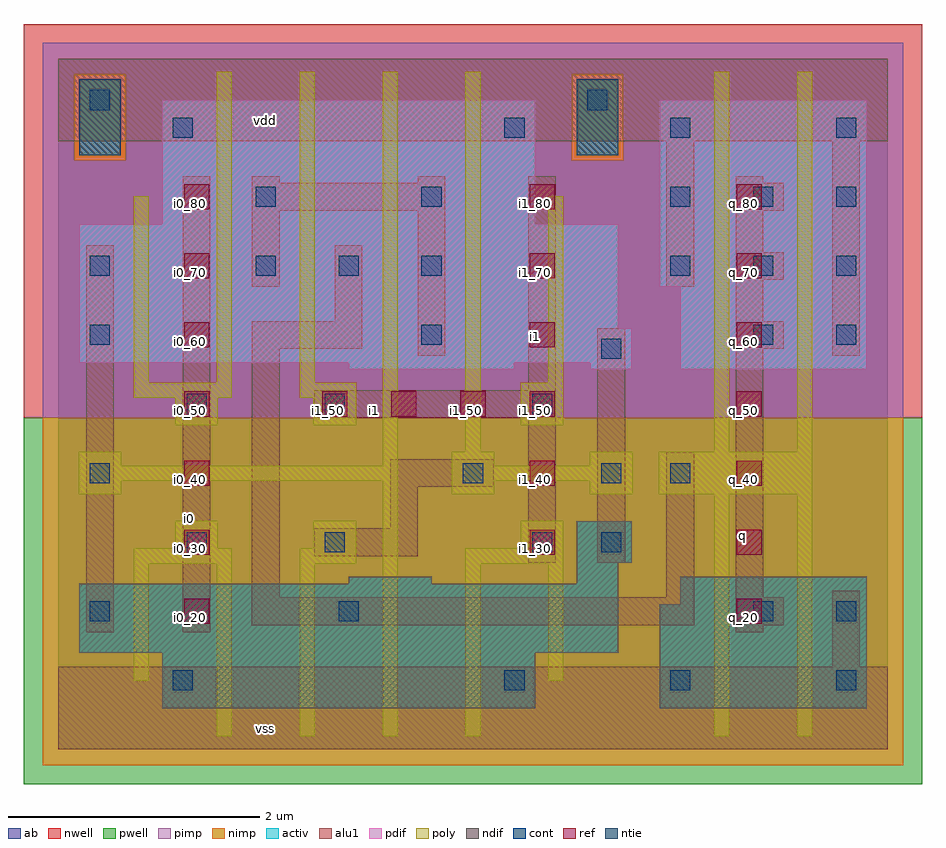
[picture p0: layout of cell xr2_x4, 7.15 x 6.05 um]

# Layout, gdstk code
import gdstk
lib = gdstk.Library(unit=1e-6, precision=2.5e-09)
def R(c, l, rs):  # rectangles x0, y0, x1, y1
    for r in rs: c.add(gdstk.rectangle(r[:2], r[2:], *l))
def A(c, l, x, y, w, h, nx, ny, dx, dy):  # array of equal rectangles
    R(c, l, [(x+i*dx, y+j*dy, x+i*dx+w, y+j*dy+h) for i in range(nx) for j in range(ny)])
ndif = (3, 0)
pdif = (4, 0)
ntie = (5, 0)
ref = (24, 0)
cont = (25, 0)
pwell = (41, 0)
nwell = (42, 0)
activ = (43, 0)
pimp = (44, 0)
nimp = (45, 0)
poly = (46, 0)
alu1 = (49, 0)
ab = (63, 0)

xr2_x4 = lib.new_cell('xr2_x4')
R(xr2_x4, ndif, [(0.825,0.33,3.795,0.77), (4.785,0.33,6.435,1.155), (0.165,0.77,4.455,1.32), (4.95,1.155,6.435,1.375), (2.31,1.32,2.97,1.375), (4.125,1.32,4.455,1.485), (4.125,1.485,4.565,1.815)])
R(xr2_x4, pdif, [(2.31,3.025,3.63,3.08), (4.235,3.025,4.565,3.08), (4.95,3.025,6.435,3.685), (0.165,3.08,4.565,3.355), (0.165,3.355,4.455,4.18), (4.785,3.685,6.435,5.17), (0.825,4.18,3.795,5.17)])
R(xr2_x4, ntie, [(0.165,4.73,0.495,5.335), (4.125,4.73,4.455,5.335)])
A(xr2_x4, ref, 1, 1, 0.2, 0.2, 1, 7, 0, 0.55)
A(xr2_x4, ref, 5.4, 1, 0.2, 0.2, 1, 7, 0, 0.55)
A(xr2_x4, ref, 2.1, 2.65, 0.2, 0.2, 4, 1, 0.55, 0)
A(xr2_x4, ref, 3.75, 3.2, 0.2, 0.2, 1, 3, 0, 0.55)
R(xr2_x4, ref, [(3.75,1.55,3.95,1.75), (3.75,2.1,3.95,2.3)])
A(xr2_x4, cont, 3.55, 0.47, 0.16, 0.16, 3, 2, 1.32, 4.4)
A(xr2_x4, cont, 0.25, 3.22, 0.16, 0.16, 3, 1, 2.64, 0)
A(xr2_x4, cont, 1.57, 3.77, 0.16, 0.16, 3, 1, 0.66, 0)
A(xr2_x4, cont, 4.87, 3.77, 0.16, 0.16, 3, 2, 0.66, 0.55)
R(xr2_x4, cont, [(0.91,0.47,1.07,0.63), (0.25,1.02,0.41,1.18), (2.23,1.02,2.39,1.18), (5.53,1.02,5.69,1.18), (6.19,1.02,6.35,1.18), (1.02,1.57,1.18,1.73), (2.12,1.57,2.28,1.73), (3.77,1.57,3.93,1.73), (4.32,1.57,4.48,1.73), (0.25,2.12,0.41,2.28), (3.22,2.12,3.38,2.28), (4.32,2.12,4.48,2.28), (4.87,2.12,5.03,2.28), (1.02,2.67,1.18,2.83), (2.12,2.67,2.28,2.83), (3.77,2.67,3.93,2.83), (4.32,3.11,4.48,3.27), (6.19,3.22,6.35,3.38), (0.25,3.77,0.41,3.93), (1.57,4.32,1.73,4.48), (2.89,4.32,3.05,4.48), (0.91,4.87,1.07,5.03), (0.25,5.09,0.41,5.25), (4.21,5.09,4.37,5.25)])
R(xr2_x4, pwell, [(-0.275,-0.275,6.875,2.64)])
R(xr2_x4, nwell, [(-0.275,2.64,6.875,5.775)])
R(xr2_x4, activ, [(0.825,0.33,3.795,0.77), (4.785,0.33,6.435,1.155), (0.165,0.77,4.455,1.32), (4.95,1.155,6.435,1.375), (2.31,1.32,2.97,1.375), (4.125,1.32,4.455,1.485), (4.125,1.485,4.565,1.815), (2.31,3.025,3.63,3.08), (4.235,3.025,4.565,3.08), (4.95,3.025,6.435,3.685), (0.165,3.08,4.565,3.355), (0.165,3.355,4.455,4.18), (4.785,3.685,6.435,5.17), (0.825,4.18,3.795,5.17), (0.165,4.73,0.495,5.335), (4.125,4.73,4.455,5.335)])
R(xr2_x4, pimp, [(-0.125,2.64,6.725,4.69), (-0.125,4.69,0.125,5.375), (0.535,4.69,4.085,5.375), (4.495,4.69,6.725,5.375), (-0.125,5.375,6.725,5.625)])
R(xr2_x4, nimp, [(-0.125,-0.125,6.725,2.64), (0.125,4.69,0.535,5.375), (4.085,4.69,4.495,5.375)])
R(xr2_x4, poly, [(1.26,0.105,1.38,1.48), (1.92,0.105,2.04,1.48), (2.58,0.105,2.7,2.14), (3.24,0.105,3.36,1.48), (5.22,0.105,5.34,2.03), (5.88,0.105,6,2.03), (0.6,0.545,0.72,1.48), (3.9,0.545,4.02,1.48), (0.6,1.48,1.38,1.6), (1.92,1.48,2.37,1.6), (3.24,1.48,4.02,1.6), (0.93,1.6,1.27,1.82), (2.03,1.6,2.37,1.82), (3.68,1.6,4.02,1.82), (0.16,2.03,0.5,2.14), (3.13,2.03,3.47,2.14), (4.23,2.03,4.57,2.14), (4.78,2.03,6,2.37), (0.16,2.14,2.7,2.26), (3.13,2.14,4.57,2.26), (0.16,2.26,0.5,2.37), (2.58,2.26,2.7,5.395), (3.13,2.26,3.47,2.37), (4.23,2.26,4.57,2.37), (3.24,2.37,3.36,5.395), (5.22,2.37,5.34,5.395), (5.88,2.37,6,5.395), (0.93,2.58,1.27,2.8), (2.03,2.58,2.37,2.8), (3.68,2.58,4.02,2.92), (0.6,2.8,1.38,2.92), (1.92,2.8,2.37,2.92), (0.6,2.92,0.72,4.405), (1.26,2.92,1.38,5.395), (1.92,2.92,2.04,5.395), (3.9,2.92,4.02,4.405)])
A(xr2_x4, alu1, 5.39, 3.19, 0.385, 0.22, 1, 3, 0, 0.55)
R(xr2_x4, alu1, [(0,0,6.6,0.66), (6.16,0.66,6.38,1.265), (0.22,0.935,0.44,4.015), (0.99,0.935,1.21,4.565), (5.39,0.935,5.61,0.99), (1.54,0.99,5.06,1.21), (5.39,0.99,5.775,1.21), (1.54,1.21,1.76,3.19), (4.84,1.21,5.06,2.365), (5.39,1.21,5.61,3.19), (3.74,1.485,3.96,2.64), (4.29,1.485,4.51,3.355), (2.035,1.54,2.86,1.76), (2.64,1.76,2.86,2.09), (2.64,2.09,3.465,2.31), (2.035,2.64,3.96,2.86), (3.74,2.86,3.96,4.565), (2.86,3.135,3.08,4.29), (6.16,3.135,6.38,4.84), (1.54,3.19,2.42,3.41), (2.2,3.41,2.42,4.015), (5.39,3.41,5.61,3.74), (1.54,3.685,1.76,4.29), (4.84,3.685,5.06,4.84), (5.39,3.96,5.61,4.29), (1.54,4.29,3.08,4.51), (1.54,4.51,1.76,4.565), (2.86,4.51,3.08,4.565), (5.39,4.51,5.61,4.565), (0,4.84,6.6,5.5)])
R(xr2_x4, ab, [(0,0,6.6,5.5)])
xr2_x4.add(gdstk.Label('vss', (1.65,0.165), layer=49, texttype=0))
xr2_x4.add(gdstk.Label('q', (5.445,1.705), layer=49, texttype=0))
xr2_x4.add(gdstk.Label('i1', (2.515,2.695), layer=49, texttype=0))
xr2_x4.add(gdstk.Label('i1', (3.795,3.285), layer=49, texttype=0))
xr2_x4.add(gdstk.Label('i0', (1.045,1.8425), layer=49, texttype=0))
xr2_x4.add(gdstk.Label('vdd', (1.65,5.005), layer=49, texttype=0))
xr2_x4.add(gdstk.Label('i1_50', (2.15,2.7), layer=24, texttype=0))
xr2_x4.add(gdstk.Label('i1_50', (2.7,2.7), layer=24, texttype=0))
xr2_x4.add(gdstk.Label('i1_50', (3.25,2.7), layer=24, texttype=0))
xr2_x4.add(gdstk.Label('q_80', (5.45,4.35), layer=24, texttype=0))
xr2_x4.add(gdstk.Label('q_20', (5.45,1.05), layer=24, texttype=0))
xr2_x4.add(gdstk.Label('q_60', (5.45,3.25), layer=24, texttype=0))
xr2_x4.add(gdstk.Label('q_70', (5.45,3.8), layer=24, texttype=0))
xr2_x4.add(gdstk.Label('q_50', (5.45,2.7), layer=24, texttype=0))
xr2_x4.add(gdstk.Label('q_40', (5.45,2.15), layer=24, texttype=0))
xr2_x4.add(gdstk.Label('q_30', (5.45,1.6), layer=24, texttype=0))
xr2_x4.add(gdstk.Label('i1_80', (3.8,4.35), layer=24, texttype=0))
xr2_x4.add(gdstk.Label('i1_70', (3.8,3.8), layer=24, texttype=0))
xr2_x4.add(gdstk.Label('i1_60', (3.8,3.25), layer=24, texttype=0))
xr2_x4.add(gdstk.Label('i1_50', (3.8,2.7), layer=24, texttype=0))
xr2_x4.add(gdstk.Label('i1_40', (3.8,2.15), layer=24, texttype=0))
xr2_x4.add(gdstk.Label('i1_30', (3.8,1.6), layer=24, texttype=0))
xr2_x4.add(gdstk.Label('i0_80', (1.05,4.35), layer=24, texttype=0))
xr2_x4.add(gdstk.Label('i0_70', (1.05,3.8), layer=24, texttype=0))
xr2_x4.add(gdstk.Label('i0_60', (1.05,3.25), layer=24, texttype=0))
xr2_x4.add(gdstk.Label('i0_40', (1.05,2.15), layer=24, texttype=0))
xr2_x4.add(gdstk.Label('i0_50', (1.05,2.7), layer=24, texttype=0))
xr2_x4.add(gdstk.Label('i0_30', (1.05,1.6), layer=24, texttype=0))
xr2_x4.add(gdstk.Label('i0_20', (1.05,1.05), layer=24, texttype=0))

lib.write_gds('xr2_x4.gds')
